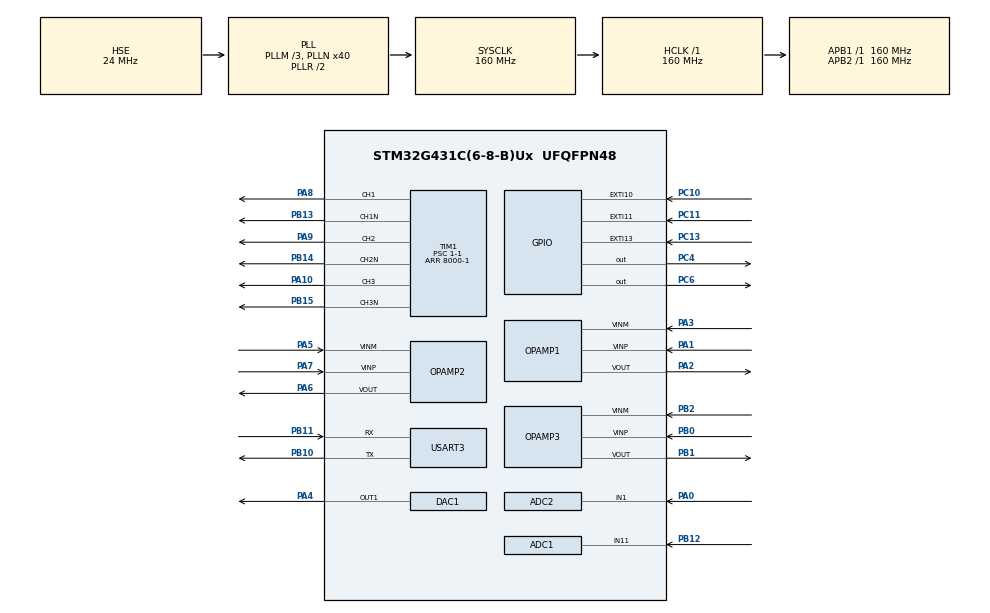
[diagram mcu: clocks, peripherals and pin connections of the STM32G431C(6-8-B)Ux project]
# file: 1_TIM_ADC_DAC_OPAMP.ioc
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ADC1.Channel-0\#ChannelRegularConversion=ADC_CHANNEL_11
ADC1.ClockPrescaler=ADC_CLOCK_ASYNC_DIV4
ADC1.EnableInjectedConversion=ENABLE
ADC1.ExternalTrigInjecConv=ADC_EXTERNALTRIGINJEC_T1_CC4
ADC1.InjNumberOfConversion=2
ADC1.InjectedChannel-1\#ChannelInjectedConversion=ADC_CHANNEL_3
ADC1.InjectedChannel-2\#ChannelInjectedConversion=ADC_CHANNEL_12
ADC1.InjectedOffsetNumber-1\#ChannelInjectedConversion=ADC_OFFSET_NONE
ADC1.InjectedOffsetNumber-2\#ChannelInjectedConversion=ADC_OFFSET_NONE
ADC1.InjectedRank-1\#ChannelInjectedConversion=1
ADC1.InjectedRank-2\#ChannelInjectedConversion=2
ADC1.InjectedSamplingTime-1\#ChannelInjectedConversion=ADC_SAMPLETIME_2CYCLES_5
ADC1.InjectedSamplingTime-2\#ChannelInjectedConversion=ADC_SAMPLETIME_2CYCLES_5
ADC1.NbrOfConversion=1
ADC1.NbrOfConversionFlag=1
ADC1.OffsetNumber-0\#ChannelRegularConversion=ADC_OFFSET_NONE
ADC1.Rank-0\#ChannelRegularConversion=1
ADC1.Rank1_Channel=ADC_CHANNEL_3
ADC1.Rank2_Channel=ADC_CHANNEL_12
ADC1.SamplingTime-0\#ChannelRegularConversion=ADC_SAMPLETIME_2CYCLES_5
ADC1.master=1
ADC2.Channel-0\#ChannelRegularConversion=ADC_CHANNEL_1
ADC2.ClockPrescaler=ADC_CLOCK_ASYNC_DIV4
ADC2.EnableInjectedConversion=ENABLE
ADC2.ExternalTrigInjecConv=ADC_EXTERNALTRIGINJEC_T1_CC4
ADC2.InjNumberOfConversion=1
ADC2.InjectedChannel-1\#ChannelInjectedConversion=ADC_CHANNEL_3
ADC2.InjectedOffsetNumber-1\#ChannelInjectedConversion=ADC_OFFSET_NONE
ADC2.InjectedRank-1\#ChannelInjectedConversion=1
ADC2.InjectedSamplingTime-1\#ChannelInjectedConversion=ADC_SAMPLETIME_2CYCLES_5
ADC2.NbrOfConversionFlag=1
ADC2.OffsetNumber-0\#ChannelRegularConversion=ADC_OFFSET_NONE
ADC2.Rank-0\#ChannelRegularConversion=1
ADC2.SamplingTime-0\#ChannelRegularConversion=ADC_SAMPLETIME_2CYCLES_5
COMP1.TriggerMode=COMP_TRIGGERMODE_IT_RISING
Mcu.Family=STM32G4
Mcu.Name=STM32G431C(6-8-B)Ux
Mcu.Package=UFQFPN48
NVIC.ADC1_2_IRQn=true\:0\:0\:false\:false\:true\:true\:true\:true
NVIC.COMP1_2_3_IRQn=true\:0\:0\:false\:false\:true\:false\:true\:true
NVIC.EXTI15_10_IRQn=true\:0\:0\:false\:false\:true\:true\:true\:true
NVIC.PriorityGroup=NVIC_PRIORITYGROUP_4
NVIC.TIM1_BRK_TIM15_IRQn=true\:0\:0\:false\:false\:true\:true\:true\:true
NVIC.TIM1_UP_TIM16_IRQn=true\:0\:0\:false\:false\:true\:true\:true\:true
PA0.Mode=IN1-Single-Ended
PA0.Signal=ADC2_IN1
PA1.Mode=Standalone
PA1.Signal=OPAMP1_VINP
PA10.Signal=S_TIM1_CH3
PA13.Mode=Serial_Wire
PA13.Signal=SYS_JTMS-SWDIO
PA14.Mode=Serial_Wire
PA14.Signal=SYS_JTCK-SWCLK
PA2.Signal=SharedAnalog_PA2
PA3.Mode=Standalone
PA3.Signal=OPAMP1_VINM
PA4.Signal=COMP_DAC11_group
PA5.Mode=Standalone
PA5.Signal=OPAMP2_VINM
PA6.Signal=SharedAnalog_PA6
PA7.Mode=Standalone
PA7.Signal=OPAMP2_VINP
PA8.Signal=S_TIM1_CH1
PA9.Signal=S_TIM1_CH2
PB0.Mode=Standalone
PB0.Signal=OPAMP3_VINP
PB1.Signal=SharedAnalog_PB1
PB10.Mode=Asynchronous
PB10.Signal=USART3_TX
PB11.Mode=Asynchronous
PB11.Signal=USART3_RX
PB12.Mode=IN11-Single-Ended
PB12.Signal=ADC1_IN11
PB13.Mode=PWM Generation1 CH1 CH1N
PB13.Signal=TIM1_CH1N
PB14.Mode=PWM Generation2 CH2 CH2N
PB14.Signal=TIM1_CH2N
PB15.Mode=PWM Generation3 CH3 CH3N
PB15.Signal=TIM1_CH3N
PB2.Mode=Standalone
PB2.Signal=OPAMP3_VINM
PC10.Signal=GPXTI10
PC11.Signal=GPXTI11
PC13.Signal=GPXTI13
PC4.Signal=GPIO_Output
PC6.Signal=GPIO_Output
PF0-OSC_IN.Mode=HSE-External-Oscillator
PF0-OSC_IN.Signal=RCC_OSC_IN
PF1-OSC_OUT.Mode=HSE-External-Oscillator
PF1-OSC_OUT.Signal=RCC_OSC_OUT
ProjectManager.HeapSize=0x200
ProjectManager.StackSize=0x400
ProjectManager.TargetToolchain=Makefile
RCC.ADC12Freq_Value=160000000
RCC.AHBFreq_Value=160000000
RCC.APB1Freq_Value=160000000
RCC.APB1TimFreq_Value=160000000
RCC.APB2Freq_Value=160000000
RCC.APB2TimFreq_Value=160000000
RCC.CortexFreq_Value=160000000
RCC.EXTERNAL_CLOCK_VALUE=12288000
RCC.HCLKFreq_Value=160000000
RCC.HSE_VALUE=24000000
RCC.HSI48_VALUE=48000000
RCC.HSI_VALUE=16000000
RCC.LSE_VALUE=32768
RCC.PLLM=RCC_PLLM_DIV3
RCC.PLLN=40
RCC.PLLSourceVirtual=RCC_PLLSOURCE_HSE
RCC.SYSCLKFreq_VALUE=160000000
RCC.SYSCLKSource=RCC_SYSCLKSOURCE_PLLCLK
RCC.USBFreq_Value=160000000
RCC.VCOOutputFreq_Value=320000000
SH.COMP_DAC11_group.0=DAC1_OUT1,DAC_OUT1
SH.S_TIM1_CH1.0=TIM1_CH1,PWM Generation1 CH1 CH1N
SH.S_TIM1_CH2.0=TIM1_CH2,PWM Generation2 CH2 CH2N
SH.S_TIM1_CH3.0=TIM1_CH3,PWM Generation3 CH3 CH3N
SH.SharedAnalog_PA2.0=OPAMP1_VOUT,Standalone
SH.SharedAnalog_PA2.1=ADC1_IN3,IN3-Single-Ended
SH.SharedAnalog_PA6.0=OPAMP2_VOUT,Standalone
SH.SharedAnalog_PA6.1=ADC2_IN3,IN3-Single-Ended
SH.SharedAnalog_PB1.0=OPAMP3_VOUT,Standalone
SH.SharedAnalog_PB1.1=ADC1_IN12,IN12-Single-Ended
SH.SharedAnalog_PB1.2=COMP1_INP,INP
STMicroelectronics.X-CUBE-ALGOBUILD.1.3.0.LibraryCcDSPOoLibraryJjDSPOoLibrary=true
TIM1.BreakFilter=2
TIM1.BreakState=TIM_BREAK_ENABLE
TIM1.Channel-PWM\ Generation1\ CH1\ CH1N=TIM_CHANNEL_1
TIM1.Channel-PWM\ Generation2\ CH2\ CH2N=TIM_CHANNEL_2
TIM1.Channel-PWM\ Generation3\ CH3\ CH3N=TIM_CHANNEL_3
TIM1.Channel-PWM\ Generation4\ No\ Output=TIM_CHANNEL_4
TIM1.ClockDivision=TIM_CLOCKDIVISION_DIV2
TIM1.CounterMode=TIM_COUNTERMODE_CENTERALIGNED1
TIM1.DeadTime=120
TIM1.OCMode_PWM-PWM\ Generation4\ No\ Output=TIM_OCMODE_PWM2
TIM1.PeriodNoDither=8000-1
TIM1.Prescaler=1-1
TIM1.PulseNoDither_4=8000-2
TIM1.SourceBRKCOMP1=TIM_BREAKINPUTSOURCE_ENABLE
TIM1.TIM_MasterOutputTrigger=TIM_TRGO_OC4REF
USART3.VirtualMode-Asynchronous=VM_ASYNC
VP_COMP1_VS_DAC3OUT1.Mode=INM_DAC3OUT1
VP_DAC3_VS_DACI1.Mode=DAC_OUT1_Int
VP_STMicroelectronics.X-CUBE-ALGOBUILD_VS_DSPOoLibraryJjLibrary_1.3.0_1.3.0.Mode=DSPOoLibraryJjLibrary
VP_SYS_VS_DBSignals.Mode=DisableDeadBatterySignals
VP_TIM1_VS_ClockSourceINT.Mode=Internal
VP_TIM1_VS_no_output4.Mode=PWM Generation4 No Output
board=custom

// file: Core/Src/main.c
/* USER CODE BEGIN Header */
/**
 ******************************************************************************
 * @file           : main.c
 * @brief          : Main program body
 ******************************************************************************
 * @attention
 *
 * Copyright (c) 2023 STMicroelectronics.
 * All rights reserved.
 *
 * This software is licensed under terms that can be found in the LICENSE file
 * in the root directory of this software component.
 * If no LICENSE file comes with this software, it is provided AS-IS.
 *
 ******************************************************************************
 */
/* USER CODE END Header */
#include "main.h"
#include "adc.h"
#include "comp.h"
#include "dac.h"
#include "opamp.h"
#include "tim.h"
#include "usart.h"
#include "gpio.h"

/* USER CODE BEGIN Includes */
#include <stdio.h>
/* USER CODE END Includes */

/* USER CODE BEGIN PD */
#define Button3_Pin       GPIO_PIN_13
#define Button3_GPIO_Port GPIOC
#define Button3_EXTI_IRQn EXTI15_10_IRQn
#define LED2_Pin          GPIO_PIN_4
#define LED2_GPIO_Port    GPIOC
#define LED1_Pin          GPIO_PIN_6
#define LED1_GPIO_Port    GPIOC
#define Button1_Pin       GPIO_PIN_10
#define Button1_GPIO_Port GPIOC
#define Button1_EXTI_IRQn EXTI15_10_IRQn
#define Button2_Pin       GPIO_PIN_11
#define Button2_GPIO_Port GPIOC
#define Button2_EXTI_IRQn EXTI15_10_IRQn
/* USER CODE END PD */

void SystemClock_Config(void);

/* USER CODE BEGIN 0 */
float Vbus, Ia, Ib, Ic;
uint16_t IA_Offset, IB_Offset, IC_Offset;
uint16_t adc1_in1, adc1_in2, adc1_in3, Vpoten, adc_vbus;
uint8_t ADC_offset = 0;
float load_data[5];

uint16_t SinWavePoint[32] =
    {0x07FF, 0x098E, 0x0B0E, 0x0C70, 0x0DA7, 0x0EA5, 0x0F62, 0x0FD7, 0x0FFE, 0x0FD7, 0x0F62, 0x0EA5, 0x0DA7, 0x0C70, 0x0B0E, 0x098E, 0x07FF, 0x0670, 0x04F0, 0x038E, 0x0258, 0x0159, 0x009C, 0x0027, 0x0000, 0x0027, 0x009C, 0x0159, 0x0258, 0x038E, 0x04F0, 0x0670};
/* USER CODE END 0 */

int main(void)
{
    /* USER CODE BEGIN 1 */
    uint8_t i = 0;
    /* USER CODE END 1 */

    /* MCU Configuration--------------------------------------------------------*/

    /* Reset of all peripherals, Initializes the Flash interface and the Systick. */
    HAL_Init();

    /* Configure the system clock */
    SystemClock_Config();

    /* Initialize all configured peripherals */
    MX_GPIO_Init();
    MX_ADC1_Init();
    MX_ADC2_Init();
    MX_COMP1_Init();
    MX_DAC3_Init();
    MX_OPAMP1_Init();
    MX_OPAMP2_Init();
    MX_OPAMP3_Init();
    MX_TIM1_Init();
    MX_USART3_UART_Init();
    MX_DAC1_Init();
    /* USER CODE BEGIN 2 */
    HAL_OPAMP_Init(&hopamp1);
    HAL_OPAMP_Init(&hopamp2);
    HAL_OPAMP_Init(&hopamp3);
    HAL_ADCEx_Calibration_Start(&hadc1, ADC_SINGLE_ENDED);
    HAL_ADCEx_Calibration_Start(&hadc2, ADC_SINGLE_ENDED);
    __HAL_TIM_SET_AUTORELOAD(&htim1, 8000 - 1);
    __HAL_TIM_SET_COMPARE(&htim1, TIM_CHANNEL_4, 8000 - 2);
    HAL_TIM_Base_Start(&htim1);
    HAL_TIM_PWM_Start(&htim1, TIM_CHANNEL_4);
    HAL_ADCEx_InjectedStart_IT(&hadc1);
    HAL_ADCEx_InjectedStart(&hadc2);
    HAL_DAC_Start(&hdac3, DAC_CHANNEL_1);
    HAL_COMP_Start(&hcomp1);
    /* USER CODE END 2 */

    /* Infinite loop */
    while (1) {

        /* USER CODE BEGIN 3 */
        i++;
        if (i > 31) {
            i = 0;
        }
        HAL_ADC_Start(&hadc1);
        HAL_ADC_Start(&hadc2);
        Vpoten   = HAL_ADC_GetValue(&hadc1);
        adc_vbus = HAL_ADC_GetValue(&hadc2);
        Vbus     = adc_vbus * 3.3f / 4096 * 26.0;
        HAL_DAC_SetValue(&hdac3, DAC_CHANNEL_1, DAC_ALIGN_12B_R, SinWavePoint[i]);
        printf("%f,%f,%f,%f,%d\r\n", Ia, Ib, Ic, Vbus, Vpoten);
        HAL_Delay(10);
    }
    /* USER CODE END 3 */
}

void SystemClock_Config(void)
{
    RCC_OscInitTypeDef RCC_OscInitStruct = {0};
    RCC_ClkInitTypeDef RCC_ClkInitStruct = {0};

    /** Configure the main internal regulator output voltage
     */
    HAL_PWREx_ControlVoltageScaling(PWR_REGULATOR_VOLTAGE_SCALE1_BOOST);

    /** Initializes the RCC Oscillators according to the specified parameters
     * in the RCC_OscInitTypeDef structure.
     */
    RCC_OscInitStruct.OscillatorType = RCC_OSCILLATORTYPE_HSE;
    RCC_OscInitStruct.HSEState       = RCC_HSE_ON;
    RCC_OscInitStruct.PLL.PLLState   = RCC_PLL_ON;
    RCC_OscInitStruct.PLL.PLLSource  = RCC_PLLSOURCE_HSE;
    RCC_OscInitStruct.PLL.PLLM       = RCC_PLLM_DIV3;
    RCC_OscInitStruct.PLL.PLLN       = 40;
    RCC_OscInitStruct.PLL.PLLP       = RCC_PLLP_DIV2;
    RCC_OscInitStruct.PLL.PLLQ       = RCC_PLLQ_DIV2;
    RCC_OscInitStruct.PLL.PLLR       = RCC_PLLR_DIV2;
    if (HAL_RCC_OscConfig(&RCC_OscInitStruct) != HAL_OK) {
        Error_Handler();
    }

    /** Initializes the CPU, AHB and APB buses clocks
     */
    RCC_ClkInitStruct.ClockType      = RCC_CLOCKTYPE_HCLK | RCC_CLOCKTYPE_SYSCLK | RCC_CLOCKTYPE_PCLK1 | RCC_CLOCKTYPE_PCLK2;
    RCC_ClkInitStruct.SYSCLKSource   = RCC_SYSCLKSOURCE_PLLCLK;
    RCC_ClkInitStruct.AHBCLKDivider  = RCC_SYSCLK_DIV1;
    RCC_ClkInitStruct.APB1CLKDivider = RCC_HCLK_DIV1;
    RCC_ClkInitStruct.APB2CLKDivider = RCC_HCLK_DIV1;

    if (HAL_RCC_ClockConfig(&RCC_ClkInitStruct, FLASH_LATENCY_4) != HAL_OK) {
        Error_Handler();
    }
}

/* USER CODE BEGIN 4 */
void HAL_GPIO_EXTI_Callback(uint16_t GPIO_Pin)
{
    if (Button2_Pin == GPIO_Pin) {
        HAL_TIM_PWM_Start(&htim1, TIM_CHANNEL_1);
        HAL_TIM_PWM_Start(&htim1, TIM_CHANNEL_2);
        HAL_TIM_PWM_Start(&htim1, TIM_CHANNEL_3);
        HAL_TIMEx_PWMN_Start(&htim1, TIM_CHANNEL_1);
        HAL_TIMEx_PWMN_Start(&htim1, TIM_CHANNEL_2);
        HAL_TIMEx_PWMN_Start(&htim1, TIM_CHANNEL_3);
    }
    if (Button3_Pin == GPIO_Pin) {
        HAL_TIM_PWM_Stop(&htim1, TIM_CHANNEL_1);
        HAL_TIM_PWM_Stop(&htim1, TIM_CHANNEL_2);
        HAL_TIM_PWM_Stop(&htim1, TIM_CHANNEL_3);
        HAL_TIMEx_PWMN_Stop(&htim1, TIM_CHANNEL_1);
        HAL_TIMEx_PWMN_Stop(&htim1, TIM_CHANNEL_2);
        HAL_TIMEx_PWMN_Stop(&htim1, TIM_CHANNEL_3);
    }
    /* NOTE: This function should not be modified, when the callback is needed,
             the HAL_GPIO_EXTI_Callback could be implemented in the user file
     */
}

void HAL_ADCEx_InjectedConvCpltCallback(ADC_HandleTypeDef *hadc)
{
    static uint8_t cnt;
    if (hadc == &hadc1) {
        if (ADC_offset == 0) {
            cnt++;
            adc1_in1 = hadc1.Instance->JDR1;
            adc1_in2 = hadc2.Instance->JDR1;
            adc1_in3 = hadc1.Instance->JDR2;
            IA_Offset += adc1_in1;
            IB_Offset += adc1_in2;
            IC_Offset += adc1_in3;
            if (cnt >= 10) {
                ADC_offset = 1;
                IA_Offset  = IA_Offset / 10;
                IB_Offset  = IB_Offset / 10;
                IC_Offset  = IC_Offset / 10;
            }
        } else {
            HAL_GPIO_TogglePin(GPIOA, GPIO_PIN_4);
            adc1_in1     = hadc1.Instance->JDR1;
            Ia           = (adc1_in1 - IA_Offset) * 0.0193359375f;
            adc1_in2     = hadc2.Instance->JDR1;
            Ib           = (adc1_in2 - IB_Offset) * 0.0193359375f;
            adc1_in3     = hadc1.Instance->JDR2;
            Ic           = (adc1_in3 - IC_Offset) * 0.0193359375f;
            TIM1->CCR1   = 2000;
            TIM1->CCR2   = 4000;
            TIM1->CCR3   = 6000;
            load_data[0] = Ia;
            load_data[1] = Ib;
            load_data[2] = Ic;
            load_data[3] = 0;
            load_data[4] = 0;
        }
    }
    /* NOTE : This function should not be modified. When the callback is needed,
              function HAL_ADCEx_InjectedConvCpltCallback must be implemented in the user file.
    */
}
/* USER CODE END 4 */

void Error_Handler(void)
{
    __disable_irq();
    while (1) {
    }
}
